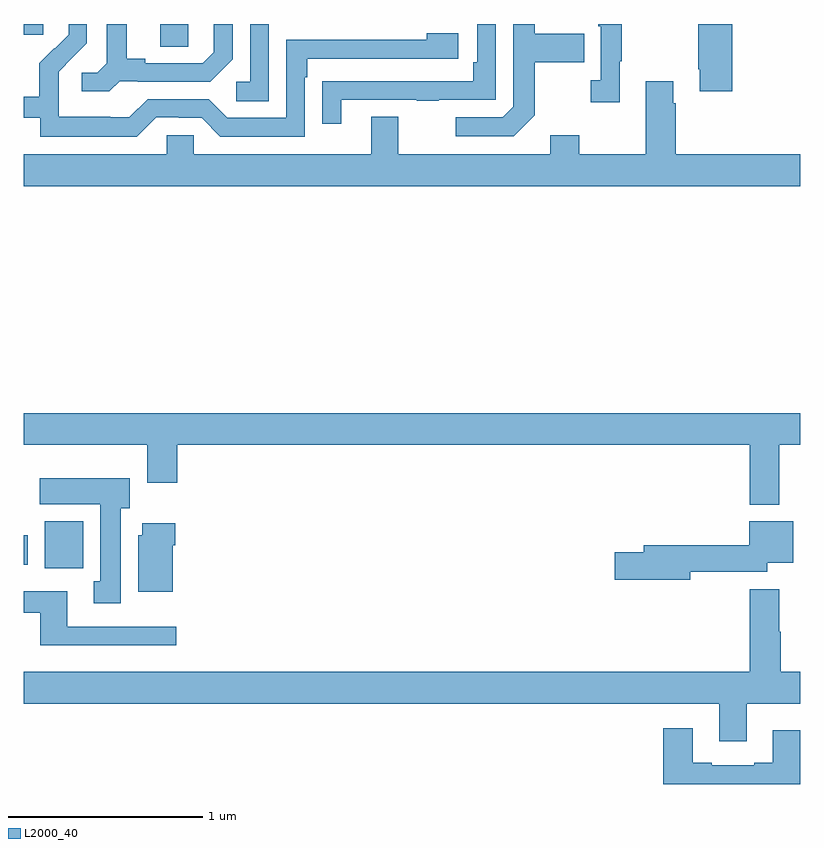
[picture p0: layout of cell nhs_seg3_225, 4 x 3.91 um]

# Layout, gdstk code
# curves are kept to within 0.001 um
import gdstk
lib = gdstk.Library(unit=1e-6, precision=1e-09)
def R(c, l, rs):  # rectangles x0, y0, x1, y1
    for r in rs: c.add(gdstk.rectangle(r[:2], r[2:], *l))
def P(c, l, *ps):  # polygons
    for p in ps: c.add(gdstk.Polygon(p, *l))
L2000_40 = (2000, 40)

nhs_seg3_225 = lib.new_cell('nhs_seg3_225')
R(nhs_seg3_225, L2000_40, [(121.109,717.596,121.306,717.838), (121,717.614,121.021,717.768), (121.703,720.283,121.848,720.4), (121,720.345,121.102,720.4)])
P(nhs_seg3_225, L2000_40, [(123.631,719.929),(123.631,720.202),(123.887,720.202),(123.887,720.349),(123.631,720.349),(123.631,720.4),(123.522,720.4),(123.522,719.973),(123.468,719.919),(123.225,719.919),(123.225,719.823),(123.525,719.823)],
  [(121.494,720.105),(121.588,720.105),(121.588,720.102),(121.96,720.102),(122.076,720.218),(122.076,720.4),(121.979,720.4),(121.979,720.255),(121.922,720.198),(121.627,720.198),(121.627,720.221),(121.531,720.221),(121.531,720.4),(121.427,720.4),(121.427,720.197),(121.38,720.15),(121.299,720.15),(121.299,720.053),(121.442,720.053)],
  [(124.649,720.4),(124.474,720.4),(124.474,720.166),(124.481,720.166),(124.481,720.054),(124.649,720.054)],
  [(122.635,720.009),(123.025,720.009),(123.025,720.004),(123.137,720.004),(123.137,720.009),(123.432,720.009),(123.432,720.4),(123.336,720.4),(123.336,720.202),(123.316,720.202),(123.316,720.105),(122.641,720.105),(122.641,720.104),(122.539,720.104),(122.539,719.886),(122.635,719.886)],
  [(124.069,720.209),(124.081,720.209),(124.081,720.4),(123.96,720.4),(123.96,720.389),(123.972,720.389),(123.972,720.11),(123.921,720.11),(123.921,719.997),(124.069,719.997)],
  [(121.683,719.919),(121.799,719.919),(121.799,719.916),(121.917,719.916),(122.013,719.82),(122.448,719.82),(122.448,720.125),(122.461,720.125),(122.461,720.222),(123.238,720.222),(123.238,720.352),(123.077,720.352),(123.077,720.318),(122.352,720.318),(122.352,719.916),(122.049,719.916),(121.953,720.012),(121.638,720.012),(121.545,719.919),(121.445,719.919),(121.445,719.923),(121.182,719.923),(121.182,720.057),(121.18,720.057),(121.18,720.154),(121.326,720.302),(121.326,720.4),(121.232,720.4),(121.232,720.344),(121.161,720.273),(121.158,720.276),(121.081,720.199),(121.081,720.025),(121,720.025),(121,719.916),(121.086,719.916),(121.086,719.819),(121.583,719.819)],
  [(122.262,720.4),(122.166,720.4),(122.166,720.102),(122.094,720.102),(122.094,720.001),(122.262,720.001)],
  [(125,719.728),(124.358,719.728),(124.358,719.993),(124.345,719.993),(124.345,720.106),(124.205,720.106),(124.205,719.728),(123.861,719.728),(123.861,719.827),(123.713,719.827),(123.713,719.728),(122.929,719.728),(122.929,719.923),(122.789,719.923),(122.789,719.728),(121.875,719.728),(121.875,719.826),(121.737,719.826),(121.737,719.728),(121,719.728),(121,719.564),(125,719.564)],
  [(124.891,718.232),(125,718.232),(125,718.396),(121,718.396),(121,718.232),(121.637,718.232),(121.637,718.038),(121.79,718.038),(121.79,718.232),(124.739,718.232),(124.739,717.923),(124.891,717.923)],
  [(121.501,717.906),(121.546,717.906),(121.546,718.06),(121.082,718.06),(121.082,717.926),(121.394,717.926),(121.394,717.53),(121.361,717.53),(121.361,717.417),(121.501,717.417)],
  [(124.432,717.58),(124.83,717.58),(124.83,717.626),(124.963,717.626),(124.963,717.838),(124.736,717.838),(124.736,717.716),(124.193,717.716),(124.193,717.68),(124.044,717.68),(124.044,717.538),(124.432,717.538)],
  [(121.768,717.716),(121.781,717.716),(121.781,717.829),(121.61,717.829),(121.61,717.768),(121.589,717.768),(121.589,717.476),(121.768,717.476)],
  [(124.723,716.9),(125,716.9),(125,717.064),(124.899,717.064),(124.899,717.269),(124.891,717.269),(124.891,717.49),(124.739,717.49),(124.739,717.064),(121,717.064),(121,716.9),(124.583,716.9),(124.583,716.706),(124.723,716.706)],
  [(121.786,717.297),(121.225,717.297),(121.225,717.478),(121,717.478),(121,717.369),(121.085,717.369),(121.085,717.2),(121.786,717.2)],
  [(124.999,716.667),(125,716.667),(125,716.764),(124.859,716.764),(124.859,716.596),(124.763,716.596),(124.763,716.583),(124.543,716.583),(124.543,716.596),(124.447,716.596),(124.447,716.773),(124.295,716.773),(124.295,716.486),(124.999,716.486)])

lib.write_gds('nhs_seg3_225.gds')
